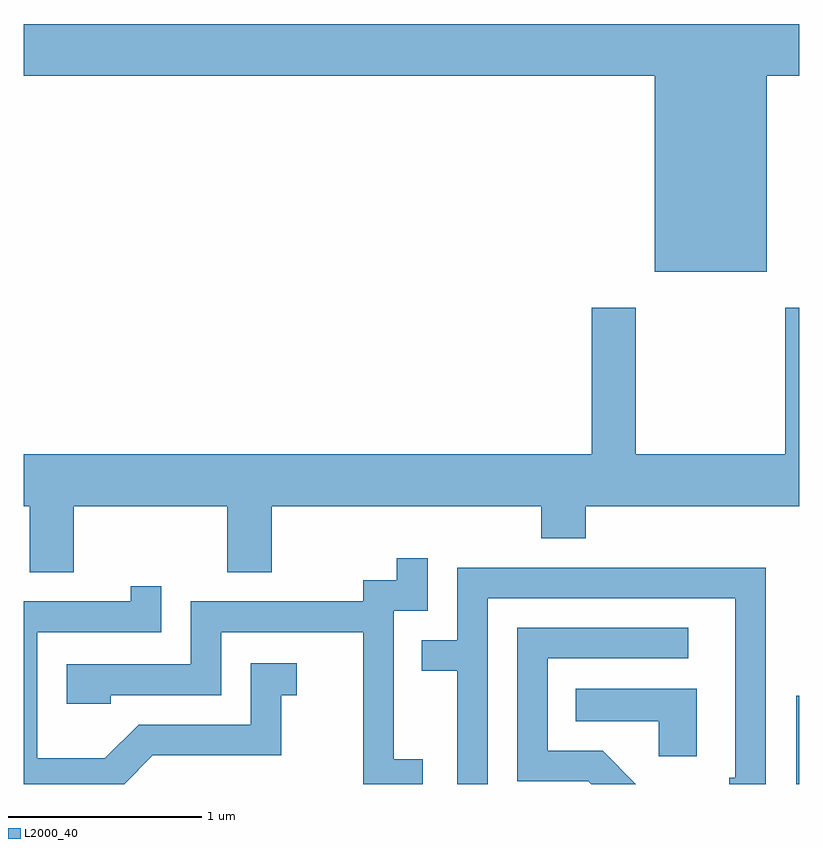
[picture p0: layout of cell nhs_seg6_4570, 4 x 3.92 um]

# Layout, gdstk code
import gdstk
lib = gdstk.Library(unit=1e-6, precision=1e-09)
def R(c, l, rs):  # rectangles x0, y0, x1, y1
    for r in rs: c.add(gdstk.rectangle(r[:2], r[2:], *l))
def P(c, l, *ps):  # polygons
    for p in ps: c.add(gdstk.Polygon(p, *l))
L2000_40 = (2000, 40)

nhs_seg6_4570 = lib.new_cell('nhs_seg6_4570')
R(nhs_seg6_4570, L2000_40, [(329.596,1544.162,329.611,1544.618)])
P(nhs_seg6_4570, L2000_40, [(329.444,1547.816),(329.611,1547.816),(329.611,1548.084),(325.611,1548.084),(325.611,1547.816),(328.866,1547.816),(328.866,1546.806),(329.444,1546.806)],
  [(325.869,1545.596),(326.661,1545.596),(326.661,1545.256),(326.889,1545.256),(326.889,1545.596),(328.281,1545.596),(328.281,1545.431),(328.509,1545.431),(328.509,1545.596),(329.611,1545.596),(329.611,1546.619),(329.541,1546.619),(329.541,1545.864),(328.769,1545.864),(328.769,1546.619),(328.541,1546.619),(328.541,1545.864),(325.611,1545.864),(325.611,1545.596),(325.641,1545.596),(325.641,1545.256),(325.869,1545.256)],
  [(327.669,1544.289),(327.519,1544.289),(327.519,1545.056),(327.694,1545.056),(327.694,1545.328),(327.536,1545.328),(327.536,1545.214),(327.361,1545.214),(327.361,1545.104),(326.471,1545.104),(326.471,1544.779),(325.831,1544.779),(325.831,1544.576),(326.059,1544.576),(326.059,1544.621),(326.629,1544.621),(326.629,1544.946),(327.361,1544.946),(327.361,1544.162),(327.669,1544.162)],
  [(328.004,1545.121),(329.281,1545.121),(329.281,1544.194),(329.251,1544.194),(329.251,1544.162),(329.439,1544.162),(329.439,1545.279),(327.846,1545.279),(327.846,1544.904),(327.663,1544.904),(327.663,1544.746),(327.846,1544.746),(327.846,1544.162),(328.004,1544.162)],
  [(326.277,1544.311),(326.939,1544.311),(326.939,1544.621),(327.018,1544.621),(327.018,1544.784),(326.781,1544.784),(326.781,1544.469),(326.204,1544.469),(326.029,1544.294),(325.679,1544.294),(325.679,1544.946),(326.319,1544.946),(326.319,1545.183),(326.161,1545.183),(326.161,1545.104),(325.611,1545.104),(325.611,1544.162),(326.128,1544.162)],
  [(328.597,1544.334),(328.314,1544.334),(328.314,1544.811),(329.038,1544.811),(329.038,1544.969),(328.156,1544.969),(328.156,1544.176),(328.524,1544.176),(328.538,1544.162),(328.769,1544.162)],
  [(329.084,1544.654),(328.458,1544.654),(328.458,1544.486),(328.886,1544.486),(328.886,1544.306),(329.084,1544.306)])

lib.write_gds('nhs_seg6_4570.gds')
